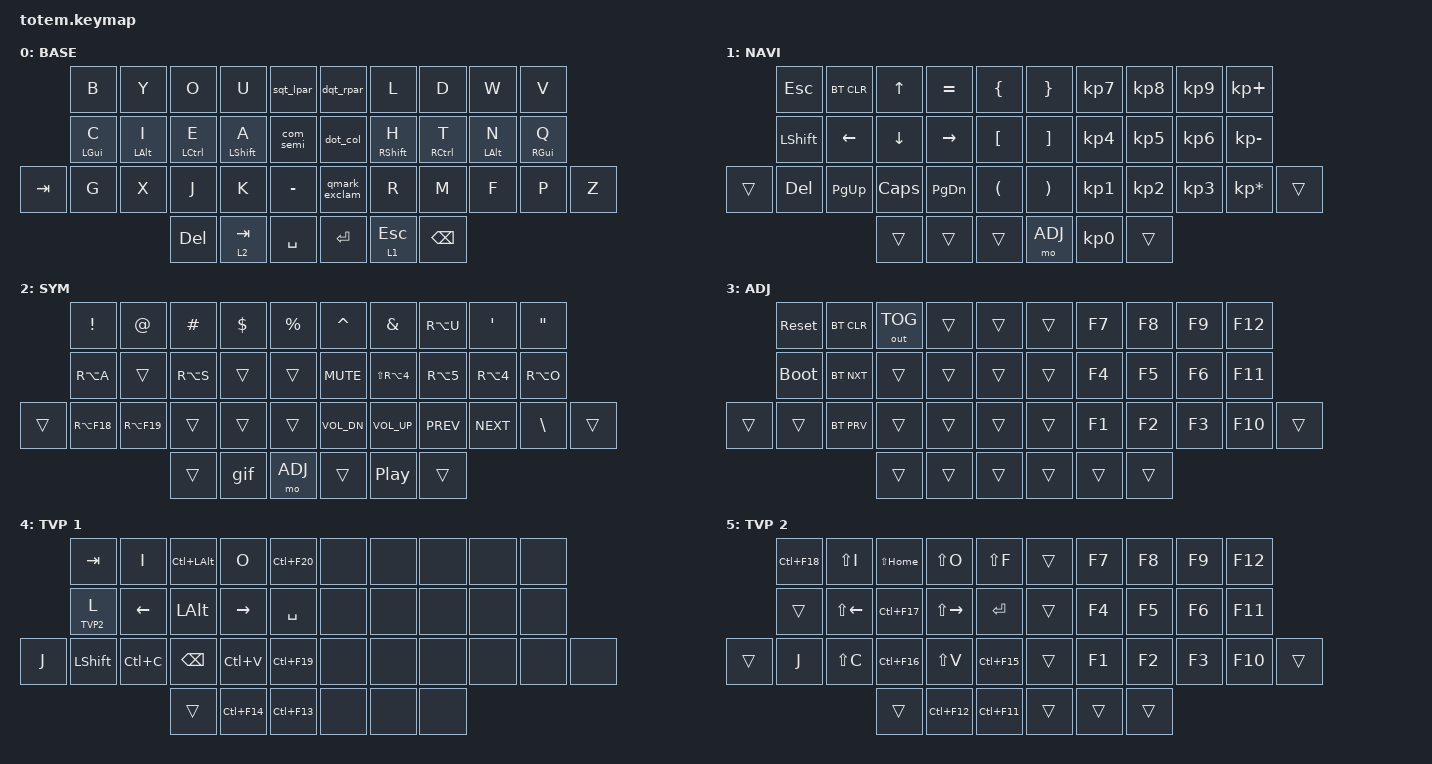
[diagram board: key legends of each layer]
//
//                                                        ▀▀▀▀▀     ▀▀▀▀▀          ▀▀█▀▀
//                                                        ▄▀▀▀▄  ▄  ▄▀▀▀▄  ▄  ▄▀▀▀▄  █  ▄▀▀▀▄
//                                                        █   █  █  █   █  █  █   █  █  █   █
//                                                         ▀▀▀   █   ▀▀▀   █   ▀▀▀   ▀   ▀▀▀
//                                                               █      ▄▄▄█▄▄▄    █   █  
//                                                               ▀      █  █  █     █▄█
//                                                             ▀▀▀▀▀    █  █  █      ▀
//                                                                      ▀  ▀  ▀
//
// ▄▄▄▄▄▄▄▄▄▄▄▄▄▄▄▄▄▄▄▄▄▄▄▄▄▄▄▄▄▄▄▄▄▄▄▄▄▄▄▄▄▄▄▄▄▄▄▄▄▄▄▄▄▄▄▄▄▄▄▄▄▄▄▄▄▄▄▄▄▄▄▄▄▄▄▄▄▄▄▄▄▄▄▄▄▄▄▄▄▄▄▄▄▄▄▄▄▄▄▄▄▄▄▄▄▄▄▄▄▄▄▄▄▄▄▄▄▄▄▄▄▄▄▄▄▄▄▄▄▄▄▄▄▄▄▄▄▄▄▄▄▄▄▄▄▄▄▄▄

#include <behaviors.dtsi>
#include <dt-bindings/zmk/bt.h>
#include <dt-bindings/zmk/keys.h>
#include <dt-bindings/zmk/outputs.h>

#define BASE 0
#define NAV  1
#define SYM  2
#define ADJ  3
#define TVP1 4
#define TVP2 5

// #define KEYS_L LT0 LT1 LT2 LT3 LT4 LM0 LM1 LM2 LM3 LM4 LB0 LB1 LB2 LB3 LB4 LB5  // left-hand keys
// #define KEYS_R RT0 RT1 RT2 RT3 RT4 RM0 RM1 RM2 RM3 RM4 RB0 RB1 RB2 RB3 RB4 RB5  // right-hand keys
// #define THUMBS LH2 LH1 LH0 RH0 RH1 RH2 

&mt {
    quick-tap-ms = <100>;
    global-quick-tap;
    flavor = "tap-preferred";
    tapping-term-ms = <170>;
};

/ {
    combos {
        compatible = "zmk,combos";

        combo_esc {
            timeout-ms = <50>;
            key-positions = <0 1>;
            bindings = <&kp ESC>;
        };

        combo_tvp {
            timeout-ms = <100>;
            key-positions = <11 12 13>;
            bindings = <&tog TVP1>;
        };
    };

    macros {
        gif: gif {
            label = "giphy";
            compatible = "zmk,behavior-macro";
            #binding-cells = <0>;
            bindings =
                <&macro_press>,
                <&kp LSHFT>,
                <&macro_tap>,
                <&kp N2>,
                <&macro_release>,
                <&kp LSHFT>,
                <&macro_tap>,
                <&kp G &kp I &kp F>;
        };
    };

    behaviors {
        sqt_lpar: apostrophe_left_paren {
            compatible = "zmk,behavior-mod-morph";
            #binding-cells = <0>;
            bindings = <&kp APOSTROPHE>, <&kp LEFT_PARENTHESIS>;

            mods = <(MOD_LSFT|MOD_RSFT)>;
        };

        dqt_rpar: dbl_quote_right_paren {
            compatible = "zmk,behavior-mod-morph";
            #binding-cells = <0>;
            bindings = <&kp DOUBLE_QUOTES>, <&kp RIGHT_PARENTHESIS>;

            mods = <(MOD_LSFT|MOD_RSFT)>;
        };

        com_semi: comma_semi_colon {
            compatible = "zmk,behavior-mod-morph";
            #binding-cells = <0>;
            bindings = <&kp COMMA>, <&kp SEMICOLON>;

            mods = <(MOD_LSFT|MOD_RSFT)>;
        };

        dot_col: dot_colon {
            compatible = "zmk,behavior-mod-morph";
            #binding-cells = <0>;
            bindings = <&kp DOT>, <&kp COLON>;

            mods = <(MOD_LSFT|MOD_RSFT)>;
        };

        qmark_exclam: question_exclamation {
            compatible = "zmk,behavior-mod-morph";
            #binding-cells = <0>;
            bindings = <&kp QUESTION>, <&kp EXCLAMATION>;

            mods = <(MOD_LSFT|MOD_RSFT)>;
        };

        lh_hrm: left_hand_home_row_mods_urob {
            compatible = "zmk,behavior-hold-tap";
            #binding-cells = <2>;
            flavor = "balanced";
            tapping-term-ms = <280>;
            quick-tap-ms = <175>;
            require-prior-idle-ms = <150>;
            bindings = <&kp>, <&kp>;
            hold-trigger-key-positions = <5 6 7 8 9 15 16 17 18 19 26 27 28 29 30 31>;    // <---[[right-hand keys]]
            hold-trigger-on-release;
        };

        rh_hrm: right_hand_home_row_mods_urob {
            compatible = "zmk,behavior-hold-tap";
            #binding-cells = <2>;
            flavor = "balanced";
            tapping-term-ms = <280>;
            quick-tap-ms = <175>;
            require-prior-idle-ms = <150>;
            bindings = <&kp>, <&kp>;
            hold-trigger-key-positions = <0 1 2 3 4 10 11 12 13 14 20 21 22 23 24 25>;    // <---[[left-hand keys]]
            hold-trigger-on-release;
        };

        lh_pht: left_hand_positional_hold_tap {
            compatible = "zmk,behavior-hold-tap";
            #binding-cells = <2>;
            flavor = "balanced";
            tapping-term-ms = <280>;
            quick-tap-ms = <125>;
            bindings = <&kp>, <&kp>;
            hold-trigger-key-positions = <5 6 7 8 9 15 16 17 18 19 26 27 28 29 30 31>;    // <---[[right-hand keys]]
        };

        rh_pht: right_hand_positional_hold_tap {
            compatible = "zmk,behavior-hold-tap";
            #binding-cells = <2>;
            flavor = "balanced";
            tapping-term-ms = <280>;
            quick-tap-ms = <125>;
            bindings = <&kp>, <&kp>;
            hold-trigger-key-positions = <0 1 2 3 4 10 11 12 13 14 20 21 22 23 24 25>;    // <---[[left-hand keys]]
        };

    };

    keymap {
        compatible = "zmk,keymap";

        // ▄▄▄▄▄▄▄▄▄▄▄▄▄▄▄▄▄▄▄▄▄▄▄▄▄▄▄▄▄▄▄▄▄▄▄▄▄▄▄▄▄▄▄▄▄▄▄▄▄▄▄▄▄▄▄▄▄▄▄▄▄▄▄▄▄▄▄▄▄▄▄▄▄▄▄▄▄▄▄▄▄▄▄▄▄▄▄▄▄▄▄▄▄▄▄▄▄▄▄▄▄▄▄▄▄▄▄▄▄▄▄▄▄▄▄▄▄▄▄▄▄▄▄▄▄▄▄▄▄▄▄▄▄▄▄▄▄▄▄▄▄▄▄▄▄▄▄▄▄

        base_layer {
            // ┏━━━━━━━━━━━━━━━━━━━━━━━━━━━━━━━━━━━━━━━┓

            label = "BASE";

            // ┗━━━━━━━━━━━━━━━━━━━━━━━━━━━━━━━━━━━━━━━┛
            //             ┏━━━━━━━━━━━┳━━━━━━━━━━━┳━━━━━━━━━━━┳━━━━━━━━━━━┳━━━━━━━━━━━┓   ┏━━━━━━━━━━━┳━━━━━━━━━━━┳━━━━━━━━━━━┳━━━━━━━━━━━┳━━━━━━━━━━━┓
            //             ┃    bB     ┃    yY     ┃    oO     ┃    uU     ┃    '(     ┃   ┃    ")     ┃    lL     ┃    dD     ┃    wW     ┃    vV     ┃
            //             ┣━━━━━━━━━━━╋━━━━━━━━━━━╋━━━━━━━━━━━╋━━━━━━━━━━━╋━━━━━━━━━━━┫   ┣━━━━━━━━━━━╋━━━━━━━━━━━╋━━━━━━━━━━━╋━━━━━━━━━━━╋━━━━━━━━━━━┫
            //             ┃    cC     ┃    iI     ┃    eE     ┃    aA     ┃    ,;     ┃   ┃    .:     ┃    hH     ┃    tT     ┃    nN     ┃    qQ     ┃
            // ┏━━━━━━━━━━━╋━━━━━━━━━━━╋━━━━━━━━━━━╋━━━━━━━━━━━╋━━━━━━━━━━━╋━━━━━━━━━━━┫   ┣━━━━━━━━━━━╋━━━━━━━━━━━╋━━━━━━━━━━━╋━━━━━━━━━━━╋━━━━━━━━━━━╋━━━━━━━━━━━┓
            // ┃    TAB    ┃    gG     ┃    xX     ┃    jJ     ┃    kK     ┃    -_     ┃   ┃    ?!     ┃    rR     ┃    mM     ┃    fF     ┃    pP     ┃    zZ     ┃
            // ┗━━━━━━━━━━━┻━━━━━━━━━━━┻━━━━━━━━━━━╋━━━━━━━━━━━╋━━━━━━━━━━━╋━━━━━━━━━━━┫   ┣━━━━━━━━━━━╋━━━━━━━━━━━╋━━━━━━━━━━━╋━━━━━━━━━━━┻━━━━━━━━━━━┻━━━━━━━━━━━┛
            //                                     ┃    DEL    ┃    TAB    ┃    SPC    ┃   ┃   ENTER   ┃    ESC    ┃   BSPC    ┃
            //                                     ┗━━━━━━━━━━━┻━━━━━━━━━━━┻━━━━━━━━━━━┛   ┗━━━━━━━━━━━┻━━━━━━━━━━━┻━━━━━━━━━━━┛

            bindings = <
         &kp B               &kp Y           &kp O            &kp U            &sqt_lpar    &dqt_rpar      &kp L             &kp D            &kp W           &kp V
         &lh_hrm LEFT_GUI C  &lh_hrm LALT I  &lh_hrm LCTRL E  &lh_hrm LSHFT A  &com_semi    &dot_col       &rh_hrm RSHFT H   &rh_hrm RCTRL T  &rh_hrm LALT N  &rh_hrm RGUI Q
&kp TAB  &kp G               &kp X           &kp J            &kp K            &kp MINUS    &qmark_exclam  &kp R             &kp M            &kp F           &kp P           &kp Z
                                             &kp DEL          &lt 2 TAB        &kp SPACE    &kp RET        &lt 1 ESCAPE      &kp BSPC
            >;
        };

        // ▄▄▄▄▄▄▄▄▄▄▄▄▄▄▄▄▄▄▄▄▄▄▄▄▄▄▄▄▄▄▄▄▄▄▄▄▄▄▄▄▄▄▄▄▄▄▄▄▄▄▄▄▄▄▄▄▄▄▄▄▄▄▄▄▄▄▄▄▄▄▄▄▄▄▄▄▄▄▄▄▄▄▄▄▄▄▄▄▄▄▄▄▄▄▄▄▄▄▄▄▄▄▄▄▄▄▄▄▄▄▄▄▄▄▄▄▄▄▄▄▄▄▄▄▄▄▄▄▄▄▄▄▄▄▄▄▄▄▄▄▄▄▄▄▄▄▄▄▄

        nav_layer {
            // ┏━━━━━━━━━━━━━━━━━━━━━━━━━━━━━━━━━━━━━━━┓

            label = "NAVI";

            // ┗━━━━━━━━━━━━━━━━━━━━━━━━━━━━━━━━━━━━━━━┛
            //             ┏━━━━━━━━━━━┳━━━━━━━━━━━┳━━━━━━━━━━━┳━━━━━━━━━━━┳━━━━━━━━━━━┓   ┏━━━━━━━━━━━┳━━━━━━━━━━━┳━━━━━━━━━━━┳━━━━━━━━━━━┳━━━━━━━━━━━┓
            //             ┃           ┃           ┃     UP    ┃           ┃     {     ┃   ┃     }     ┃     7     ┃     8     ┃     9     ┃     +     ┃
            //             ┣━━━━━━━━━━━╋━━━━━━━━━━━╋━━━━━━━━━━━╋━━━━━━━━━━━╋━━━━━━━━━━━┫   ┣━━━━━━━━━━━╋━━━━━━━━━━━╋━━━━━━━━━━━╋━━━━━━━━━━━╋━━━━━━━━━━━┫
            //             ┃   SHIFT   ┃   LEFT    ┃    DOWN   ┃   RIGHT   ┃     [     ┃   ┃     ]     ┃     4     ┃     5     ┃     6     ┃     -     ┃
            // ┏━━━━━━━━━━━╋━━━━━━━━━━━╋━━━━━━━━━━━╋━━━━━━━━━━━╋━━━━━━━━━━━╋━━━━━━━━━━━┫   ┣━━━━━━━━━━━╋━━━━━━━━━━━╋━━━━━━━━━━━╋━━━━━━━━━━━╋━━━━━━━━━━━╋━━━━━━━━━━━┓
            // ┃           ┃           ┃   P UP    ┃  C LOCK   ┃  P DOWN   ┃     (     ┃   ┃     )     ┃     1     ┃     2     ┃     3     ┃     *     ┃           ┃
            // ┗━━━━━━━━━━━┻━━━━━━━━━━━┻━━━━━━━━━━━╋━━━━━━━━━━━╋━━━━━━━━━━━╋━━━━━━━━━━━┫   ┣━━━━━━━━━━━╋━━━━━━━━━━━╋━━━━━━━━━━━╋━━━━━━━━━━━┻━━━━━━━━━━━┻━━━━━━━━━━━┛
            //                                     ┃           ┃    TAB    ┃    SPC    ┃   ┃    DEL    ┃     0     ┃           ┃
            //                                     ┗━━━━━━━━━━━┻━━━━━━━━━━━┻━━━━━━━━━━━┛   ┗━━━━━━━━━━━┻━━━━━━━━━━━┻━━━━━━━━━━━┛

            bindings = <
        &kp ESC    &bt BT_CLR  &kp UP    &kp EQUAL  &kp LBRC    &kp RBRC  &kp KP_N7  &kp KP_N8  &kp KP_N9  &kp KP_PLUS
        &kp LSHFT  &kp LEFT    &kp DOWN  &kp RIGHT  &kp LBKT    &kp RBKT  &kp KP_N4  &kp KP_N5  &kp KP_N6  &kp KP_MINUS
&trans  &kp DEL    &kp PG_UP   &kp CAPS  &kp PG_DN  &kp LPAR    &kp RPAR  &kp KP_N1  &kp KP_N2  &kp KP_N3  &kp KP_MULTIPLY  &trans
                               &trans    &trans     &trans      &mo ADJ   &kp KP_N0  &trans
            >;
        };

        // ▄▄▄▄▄▄▄▄▄▄▄▄▄▄▄▄▄▄▄▄▄▄▄▄▄▄▄▄▄▄▄▄▄▄▄▄▄▄▄▄▄▄▄▄▄▄▄▄▄▄▄▄▄▄▄▄▄▄▄▄▄▄▄▄▄▄▄▄▄▄▄▄▄▄▄▄▄▄▄▄▄▄▄▄▄▄▄▄▄▄▄▄▄▄▄▄▄▄▄▄▄▄▄▄▄▄▄▄▄▄▄▄▄▄▄▄▄▄▄▄▄▄▄▄▄▄▄▄▄▄▄▄▄▄▄▄▄▄▄▄▄▄▄▄▄▄▄▄▄

        sim_layer {
            // ┏━━━━━━━━━━━━━━━━━━━━━━━━━━━━━━━━━━━━━━━┓

            label = "SYM";

            // ┗━━━━━━━━━━━━━━━━━━━━━━━━━━━━━━━━━━━━━━━┛
            //             ┏━━━━━━━━━━━┳━━━━━━━━━━━┳━━━━━━━━━━━┳━━━━━━━━━━━┳━━━━━━━━━━━┓   ┏━━━━━━━━━━━┳━━━━━━━━━━━┳━━━━━━━━━━━┳━━━━━━━━━━━┳━━━━━━━━━━━┓
            //             ┃     !     ┃     @     ┃     #     ┃     $     ┃     %     ┃   ┃     ˆ     ┃     &     ┃     Ü     ┃     '     ┃     "     ┃
            //             ┣━━━━━━━━━━━╋━━━━━━━━━━━╋━━━━━━━━━━━╋━━━━━━━━━━━╋━━━━━━━━━━━┫   ┣━━━━━━━━━━━╋━━━━━━━━━━━╋━━━━━━━━━━━╋━━━━━━━━━━━╋━━━━━━━━━━━┫
            //             ┃     Ä     ┃           ┃    SZ     ┃           ┃           ┃   ┃   MUTE    ┃   YEN     ┃   EURO    ┃  POUND    ┃     Ö     ┃
            // ┏━━━━━━━━━━━╋━━━━━━━━━━━╋━━━━━━━━━━━╋━━━━━━━━━━━╋━━━━━━━━━━━╋━━━━━━━━━━━┫   ┣━━━━━━━━━━━╋━━━━━━━━━━━╋━━━━━━━━━━━╋━━━━━━━━━━━╋━━━━━━━━━━━╋━━━━━━━━━━━┓
            // ┃           ┃  EMAIL1   ┃  EMAIL2   ┃           ┃           ┃           ┃   ┃   VOL-    ┃   VOL+    ┃   LAST    ┃   NEXT    ┃     \     ┃           ┃
            // ┗━━━━━━━━━━━┻━━━━━━━━━━━┻━━━━━━━━━━━╋━━━━━━━━━━━╋━━━━━━━━━━━╋━━━━━━━━━━━┫   ┣━━━━━━━━━━━╋━━━━━━━━━━━╋━━━━━━━━━━━╋━━━━━━━━━━━┻━━━━━━━━━━━┻━━━━━━━━━━━┛
            //                                     ┃           ┃    GIF    ┃    ADJ    ┃   ┃           ┃           ┃           ┃
            //                                     ┗━━━━━━━━━━━┻━━━━━━━━━━━┻━━━━━━━━━━━┛   ┗━━━━━━━━━━━┻━━━━━━━━━━━┻━━━━━━━━━━━┛

            bindings = <
        &kp EXCL     &kp AT       &kp HASH   &kp DLLR  &kp PRCNT    &kp CARET     &kp AMPS        &kp RA(U)   &kp SQT     &kp DQT
        &kp RA(A)    &trans       &kp RA(S)  &trans    &trans       &kp C_MUTE    &kp LS(RA(N4))  &kp RA(N5)  &kp RA(N4)  &kp RA(O)
&trans  &kp RA(F18)  &kp RA(F19)  &trans     &trans    &trans       &kp C_VOL_DN  &kp C_VOL_UP    &kp C_PREV  &kp C_NEXT  &kp BSLH   &trans
                                  &trans     &gif      &mo ADJ      &trans        &kp C_PP        &trans
            >;
        };

        // ▄▄▄▄▄▄▄▄▄▄▄▄▄▄▄▄▄▄▄▄▄▄▄▄▄▄▄▄▄▄▄▄▄▄▄▄▄▄▄▄▄▄▄▄▄▄▄▄▄▄▄▄▄▄▄▄▄▄▄▄▄▄▄▄▄▄▄▄▄▄▄▄▄▄▄▄▄▄▄▄▄▄▄▄▄▄▄▄▄▄▄▄▄▄▄▄▄▄▄▄▄▄▄▄▄▄▄▄▄▄▄▄▄▄▄▄▄▄▄▄▄▄▄▄▄▄▄▄▄▄▄▄▄▄▄▄▄▄▄▄▄▄▄▄▄▄▄▄▄

        adjust_layer {
            // ┏━━━━━━━━━━━━━━━━━━━━━━━━━━━━━━━━━━━━━━━┓

            label = "ADJ";

            // ┗━━━━━━━━━━━━━━━━━━━━━━━━━━━━━━━━━━━━━━━┛
            //             ┏━━━━━━━━━━━┳━━━━━━━━━━━┳━━━━━━━━━━━┳━━━━━━━━━━━┳━━━━━━━━━━━┓   ┏━━━━━━━━━━━┳━━━━━━━━━━━┳━━━━━━━━━━━┳━━━━━━━━━━━┳━━━━━━━━━━━┓
            //             ┃   RESET   ┃ BT CLEAR  ┃  OUT TOG  ┃           ┃           ┃   ┃           ┃    F7     ┃    F8     ┃    F9     ┃    F12    ┃
            //             ┣━━━━━━━━━━━╋━━━━━━━━━━━╋━━━━━━━━━━━╋━━━━━━━━━━━╋━━━━━━━━━━━┫   ┣━━━━━━━━━━━╋━━━━━━━━━━━╋━━━━━━━━━━━╋━━━━━━━━━━━╋━━━━━━━━━━━┫
            //             ┃ BOOTLOAD  ┃ BT NEXT   ┃           ┃           ┃           ┃   ┃           ┃    F4     ┃    F5     ┃    F6     ┃    F11    ┃
            // ┏━━━━━━━━━━━╋━━━━━━━━━━━╋━━━━━━━━━━━╋━━━━━━━━━━━╋━━━━━━━━━━━╋━━━━━━━━━━━┫   ┣━━━━━━━━━━━╋━━━━━━━━━━━╋━━━━━━━━━━━╋━━━━━━━━━━━╋━━━━━━━━━━━╋━━━━━━━━━━━┓
            // ┃           ┃           ┃ BT PREV   ┃           ┃           ┃           ┃   ┃           ┃    F1     ┃    F2     ┃    F3     ┃    F10    ┃           ┃
            // ┗━━━━━━━━━━━┻━━━━━━━━━━━┻━━━━━━━━━━━╋━━━━━━━━━━━╋━━━━━━━━━━━╋━━━━━━━━━━━┫   ┣━━━━━━━━━━━╋━━━━━━━━━━━╋━━━━━━━━━━━╋━━━━━━━━━━━┻━━━━━━━━━━━┻━━━━━━━━━━━┛
            //                                     ┃           ┃           ┃           ┃   ┃           ┃           ┃           ┃
            //                                     ┗━━━━━━━━━━━┻━━━━━━━━━━━┻━━━━━━━━━━━┛   ┗━━━━━━━━━━━┻━━━━━━━━━━━┻━━━━━━━━━━━┛

            bindings = <
        &sys_reset   &bt BT_CLR  &out OUT_TOG  &trans  &trans    &trans  &kp F7  &kp F8  &kp F9  &kp F12
        &bootloader  &bt BT_NXT  &trans        &trans  &trans    &trans  &kp F4  &kp F5  &kp F6  &kp F11
&trans  &trans       &bt BT_PRV  &trans        &trans  &trans    &trans  &kp F1  &kp F2  &kp F3  &kp F10  &trans
                                 &trans        &trans  &trans    &trans  &trans  &trans
            >;
        };

        // ▄▄▄▄▄▄▄▄▄▄▄▄▄▄▄▄▄▄▄▄▄▄▄▄▄▄▄▄▄▄▄▄▄▄▄▄▄▄▄▄▄▄▄▄▄▄▄▄▄▄▄▄▄▄▄▄▄▄▄▄▄▄▄▄▄▄▄▄▄▄▄▄▄▄▄▄▄▄▄▄▄▄▄▄▄▄▄▄▄▄▄▄▄▄▄▄▄▄▄▄▄▄▄▄▄▄▄▄▄▄▄▄▄▄▄▄▄▄▄▄▄▄▄▄▄▄▄▄▄▄▄▄▄▄▄▄▄▄▄▄▄▄▄▄▄▄▄▄▄

        tvp1_layer {
            // ┏━━━━━━━━━━━━━━━━━━━━━━━━━━━━━━━━━━━━━━━┓

            label = "TVP 1";

            // ┗━━━━━━━━━━━━━━━━━━━━━━━━━━━━━━━━━━━━━━━┛
            //             ┏━━━━━━━━━━━┳━━━━━━━━━━━┳━━━━━━━━━━━┳━━━━━━━━━━━┳━━━━━━━━━━━┓   ┏━━━━━━━━━━━┳━━━━━━━━━━━┳━━━━━━━━━━━┳━━━━━━━━━━━┳━━━━━━━━━━━┓
            //             ┃ NEXT FILE ┃ MARK IN   ┃ ROTATE    ┃ MARK OUT  ┃ SHOW SNAP ┃   ┃           ┃           ┃           ┃           ┃           ┃
            //             ┣━━━━━━━━━━━╋━━━━━━━━━━━╋━━━━━━━━━━━╋━━━━━━━━━━━╋━━━━━━━━━━━┫   ┣━━━━━━━━━━━╋━━━━━━━━━━━╋━━━━━━━━━━━╋━━━━━━━━━━━╋━━━━━━━━━━━┫
            //             ┃ TVP II    ┃ LEFT      ┃ PAN       ┃ RIGHT     ┃ PLAY/FLIP ┃   ┃           ┃           ┃           ┃           ┃           ┃
            // ┏━━━━━━━━━━━╋━━━━━━━━━━━╋━━━━━━━━━━━╋━━━━━━━━━━━╋━━━━━━━━━━━╋━━━━━━━━━━━┫   ┣━━━━━━━━━━━╋━━━━━━━━━━━╋━━━━━━━━━━━╋━━━━━━━━━━━╋━━━━━━━━━━━╋━━━━━━━━━━━┓
            // ┃ FULLSCR   ┃ SHIFT     ┃ COPY      ┃ DELETE    ┃ PASTE     ┃ IMG MARK  ┃   ┃           ┃           ┃           ┃           ┃           ┃           ┃
            // ┗━━━━━━━━━━━┻━━━━━━━━━━━┻━━━━━━━━━━━╋━━━━━━━━━━━╋━━━━━━━━━━━╋━━━━━━━━━━━┫   ┣━━━━━━━━━━━╋━━━━━━━━━━━╋━━━━━━━━━━━╋━━━━━━━━━━━┻━━━━━━━━━━━┻━━━━━━━━━━━┛
            //                                     ┃           ┃ UNDO/SAVE ┃  SEL/MOV  ┃   ┃           ┃           ┃           ┃
            //                                     ┗━━━━━━━━━━━┻━━━━━━━━━━━┻━━━━━━━━━━━┛   ┗━━━━━━━━━━━┻━━━━━━━━━━━┻━━━━━━━━━━━┛

            bindings = <
       &kp TAB     &kp I      &kp LC(LALT)  &kp O        &kp LC(F20)    &none  &none  &none  &none  &none
       &lt TVP2 L  &kp LEFT   &kp LALT      &kp RIGHT    &kp SPACE      &none  &none  &none  &none  &none
&kp J  &kp LSHFT   &kp LC(C)  &kp BSPC      &kp LC(V)    &kp LC(F19)    &none  &none  &none  &none  &none  &none
                              &trans        &kp LC(F14)  &kp LC(F13)    &none  &none  &none
            >;
        };

        // ▄▄▄▄▄▄▄▄▄▄▄▄▄▄▄▄▄▄▄▄▄▄▄▄▄▄▄▄▄▄▄▄▄▄▄▄▄▄▄▄▄▄▄▄▄▄▄▄▄▄▄▄▄▄▄▄▄▄▄▄▄▄▄▄▄▄▄▄▄▄▄▄▄▄▄▄▄▄▄▄▄▄▄▄▄▄▄▄▄▄▄▄▄▄▄▄▄▄▄▄▄▄▄▄▄▄▄▄▄▄▄▄▄▄▄▄▄▄▄▄▄▄▄▄▄▄▄▄▄▄▄▄▄▄▄▄▄▄▄▄▄▄▄▄▄▄▄▄▄

        tvp2_layer {
            // ┏━━━━━━━━━━━━━━━━━━━━━━━━━━━━━━━━━━━━━━━┓

            label = "TVP 2";

            // ┗━━━━━━━━━━━━━━━━━━━━━━━━━━━━━━━━━━━━━━━┛
            //             ┏━━━━━━━━━━━┳━━━━━━━━━━━┳━━━━━━━━━━━┳━━━━━━━━━━━┳━━━━━━━━━━━┓   ┏━━━━━━━━━━━┳━━━━━━━━━━━┳━━━━━━━━━━━┳━━━━━━━━━━━┳━━━━━━━━━━━┓
            //             ┃ SOLO      ┃ TOGGLE IN ┃ RESET ROT ┃ TOGGLE OUT┃ TAKE SNAP ┃   ┃           ┃           ┃           ┃           ┃           ┃
            //             ┣━━━━━━━━━━━╋━━━━━━━━━━━╋━━━━━━━━━━━╋━━━━━━━━━━━╋━━━━━━━━━━━┫   ┣━━━━━━━━━━━╋━━━━━━━━━━━╋━━━━━━━━━━━╋━━━━━━━━━━━╋━━━━━━━━━━━┫
            //             ┃ ---       ┃ LAST KEY  ┃ NEW KEY   ┃ NEXT KEY  ┃ ENTER     ┃   ┃           ┃           ┃           ┃           ┃           ┃
            // ┏━━━━━━━━━━━╋━━━━━━━━━━━╋━━━━━━━━━━━╋━━━━━━━━━━━╋━━━━━━━━━━━╋━━━━━━━━━━━┫   ┣━━━━━━━━━━━╋━━━━━━━━━━━╋━━━━━━━━━━━╋━━━━━━━━━━━╋━━━━━━━━━━━╋━━━━━━━━━━━┓
            // ┃           ┃ FULLSCR   ┃ CPY2BRUSH ┃ DEL HEAD  ┃ PSTinPLACE┃ BOOK MARK ┃   ┃           ┃           ┃           ┃           ┃           ┃           ┃
            // ┗━━━━━━━━━━━┻━━━━━━━━━━━┻━━━━━━━━━━━╋━━━━━━━━━━━╋━━━━━━━━━━━╋━━━━━━━━━━━┫   ┣━━━━━━━━━━━╋━━━━━━━━━━━╋━━━━━━━━━━━╋━━━━━━━━━━━┻━━━━━━━━━━━┻━━━━━━━━━━━┛
            //                                     ┃           ┃ REDO/SAV1 ┃TRANS/WARP ┃   ┃           ┃           ┃           ┃
            //                                     ┗━━━━━━━━━━━┻━━━━━━━━━━━┻━━━━━━━━━━━┛   ┗━━━━━━━━━━━┻━━━━━━━━━━━┻━━━━━━━━━━━┛

            bindings = <
        &kp LC(F18)  &kp LS(I)     &kp LS(HOME)  &kp LS(O)      &kp LS(F)      &trans  &kp F7  &kp F8  &kp F9  &kp F12
        &trans       &kp LS(LEFT)  &kp LC(F17)   &kp LS(RIGHT)  &kp RET        &trans  &kp F4  &kp F5  &kp F6  &kp F11
&trans  &kp J        &kp LS(C)     &kp LC(F16)   &kp LS(V)      &kp LC(F15)    &trans  &kp F1  &kp F2  &kp F3  &kp F10  &trans
                                   &trans        &kp LC(F12)    &kp LC(F11)    &trans  &trans  &trans
            >;
        };
    };
};
